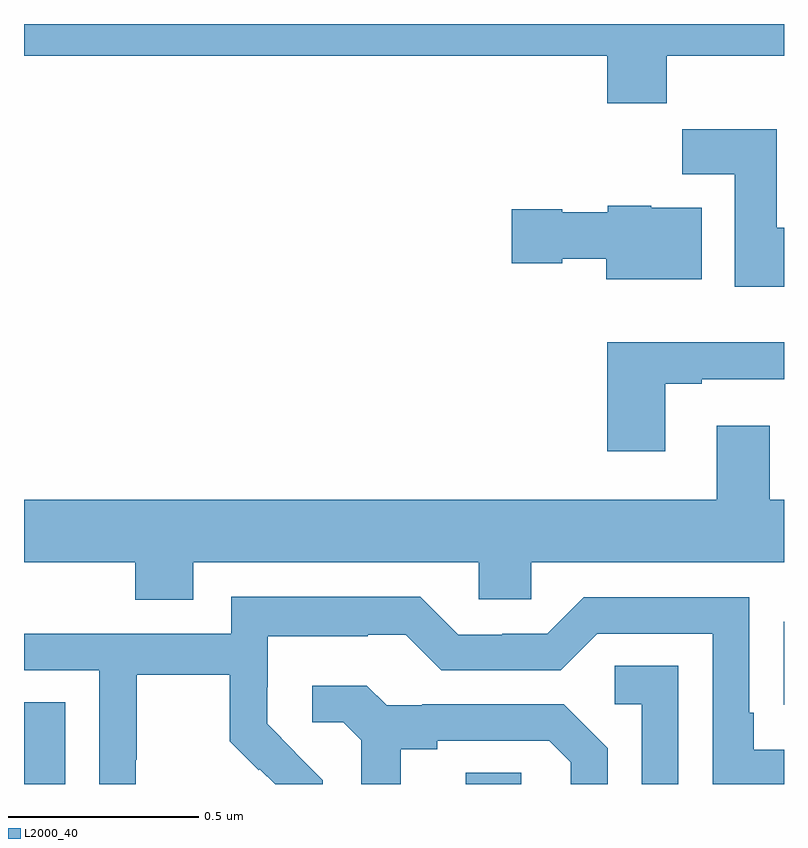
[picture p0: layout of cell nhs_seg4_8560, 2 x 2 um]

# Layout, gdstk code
import gdstk
lib = gdstk.Library(unit=1e-6, precision=1e-09)
def R(c, l, rs):  # rectangles x0, y0, x1, y1
    for r in rs: c.add(gdstk.rectangle(r[:2], r[2:], *l))
def P(c, l, *ps):  # polygons
    for p in ps: c.add(gdstk.Polygon(p, *l))
L2000_40 = (2000, 40)

nhs_seg4_8560 = lib.new_cell('nhs_seg4_8560')
R(nhs_seg4_8560, L2000_40, [(216,798.9,216.109,799.115), (217.163,798.9,217.308,798.929), (217.999,799.108,218,799.327)])
P(nhs_seg4_8560, L2000_40, [(216,800.816),(217.535,800.816),(217.535,800.692),(217.691,800.692),(217.691,800.816),(218,800.816),(218,800.9),(216,800.9)],
  [(218,800.364),(217.981,800.364),(217.981,800.623),(217.732,800.623),(217.732,800.504),(217.871,800.504),(217.871,800.208),(218,800.208)],
  [(217.783,800.416),(217.65,800.416),(217.65,800.422),(217.536,800.422),(217.536,800.404),(217.416,800.404),(217.416,800.412),(217.284,800.412),(217.284,800.27),(217.416,800.27),(217.416,800.282),(217.532,800.282),(217.532,800.228),(217.783,800.228)],
  [(217.687,799.953),(217.783,799.953),(217.783,799.965),(218,799.965),(218,800.062),(217.535,800.062),(217.535,799.776),(217.687,799.776)],
  [(216.445,799.484),(217.197,799.484),(217.197,799.386),(217.335,799.386),(217.335,799.484),(218,799.484),(218,799.648),(217.963,799.648),(217.963,799.843),(217.823,799.843),(217.823,799.648),(216,799.648),(216,799.484),(216.293,799.484),(216.293,799.385),(216.445,799.385)],
  [(216.294,798.964),(216.297,798.964),(216.297,799.188),(216.541,799.188),(216.541,799.013),(216.618,798.936),(216.621,798.939),(216.661,798.9),(216.786,798.9),(216.786,798.91),(216.713,798.983),(216.714,798.984),(216.64,799.058),(216.64,799.155),(216.642,799.155),(216.642,799.289),(216.905,799.289),(216.905,799.293),(217.005,799.293),(217.098,799.2),(217.413,799.2),(217.509,799.296),(217.812,799.296),(217.812,798.9),(218,798.9),(218,798.99),(217.921,798.99),(217.921,799.087),(217.908,799.087),(217.908,799.392),(217.473,799.392),(217.377,799.296),(217.259,799.296),(217.259,799.293),(217.143,799.293),(217.043,799.393),(216.546,799.393),(216.546,799.296),(216,799.296),(216,799.2),(216.198,799.2),(216.198,798.9),(216.294,798.9)],
  [(217.722,799.211),(217.554,799.211),(217.554,799.11),(217.626,799.11),(217.626,798.9),(217.722,798.9)],
  [(216.991,798.992),(217.087,798.992),(217.087,799.014),(217.382,799.014),(217.439,798.957),(217.439,798.9),(217.536,798.9),(217.536,798.994),(217.42,799.11),(217.048,799.11),(217.048,799.107),(216.954,799.107),(216.902,799.159),(216.759,799.159),(216.759,799.062),(216.84,799.062),(216.887,799.015),(216.887,798.9),(216.991,798.9)])

lib.write_gds('nhs_seg4_8560.gds')
